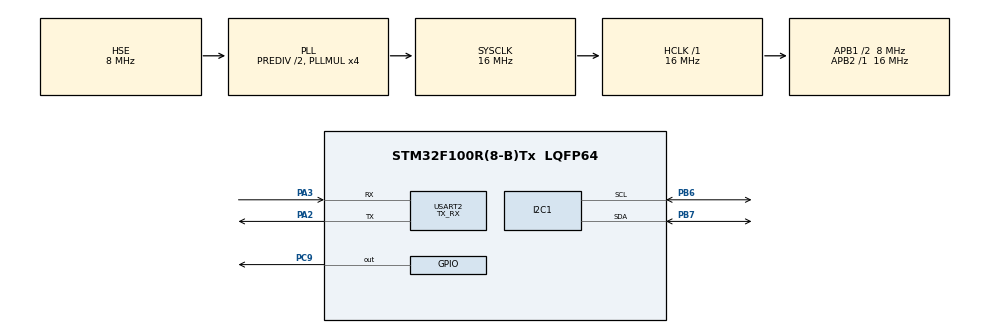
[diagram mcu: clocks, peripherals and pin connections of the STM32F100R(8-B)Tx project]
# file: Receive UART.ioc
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Mcu.Family=STM32F1
Mcu.Name=STM32F100R(8-B)Tx
Mcu.Package=LQFP64
NVIC.PriorityGroup=NVIC_PRIORITYGROUP_4
NVIC.USART2_IRQn=true\:0\:0\:false\:false\:true\:true\:true
PA13.Mode=Serial_Wire
PA13.Signal=SYS_JTMS-SWDIO
PA14.Mode=Serial_Wire
PA14.Signal=SYS_JTCK-SWCLK
PA2.Mode=Asynchronous
PA2.Signal=USART2_TX
PA3.Mode=Asynchronous
PA3.Signal=USART2_RX
PB6.Mode=I2C
PB6.Signal=I2C1_SCL
PB7.Mode=I2C
PB7.Signal=I2C1_SDA
PC9.Signal=GPIO_Output
PD0-OSC_IN.Mode=HSE-External-Oscillator
PD0-OSC_IN.Signal=RCC_OSC_IN
PD1-OSC_OUT.Mode=HSE-External-Oscillator
PD1-OSC_OUT.Signal=RCC_OSC_OUT
ProjectManager.HeapSize=0x200
ProjectManager.StackSize=0x400
ProjectManager.TargetToolchain=MDK-ARM V5
RCC.AHBFreq_Value=16000000
RCC.APB1CLKDivider=RCC_HCLK_DIV2
RCC.APB1Freq_Value=8000000
RCC.APB1TimFreq_Value=16000000
RCC.APB2Freq_Value=16000000
RCC.APB2TimFreq_Value=16000000
RCC.HCLKFreq_Value=16000000
RCC.HSEDivPLL=RCC_HSE_PREDIV_DIV2
RCC.PLLMUL=RCC_PLL_MUL4
RCC.PLLSource=RCC_PLLSOURCE_HSE
RCC.SYSCLKFreq_VALUE=16000000
RCC.SYSCLKSource=RCC_SYSCLKSOURCE_PLLCLK
USART2.Mode=MODE_TX_RX
USART2.VirtualMode=VM_ASYNC
VP_CRC_VS_CRC.Mode=CRC_Activate
board=custom

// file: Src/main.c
/* USER CODE BEGIN Header */
/**
  ******************************************************************************
  * @file           : main.c
  * @brief          : Main program body
  ******************************************************************************
  * @attention
  *
  * <h2><center>&copy; Copyright (c) 2019 STMicroelectronics.
  * All rights reserved.</center></h2>
  *
  * This software component is licensed by ST under BSD 3-Clause license,
  * the "License"; You may not use this file except in compliance with the
  * License. You may obtain a copy of the License at:
  *                        opensource.org/licenses/BSD-3-Clause
  *
  ******************************************************************************
  */
/* USER CODE END Header */

#include "main.h"

/* USER CODE BEGIN Includes */
#include <stdlib.h>
/* USER CODE END Includes */

CRC_HandleTypeDef hcrc;

I2C_HandleTypeDef hi2c1;

UART_HandleTypeDef huart2;

/* USER CODE BEGIN PV */
uint8_t str_Tx[24] = {0};
uint8_t str_Rx[24] = {0};
int flag = 0;
/* USER CODE END PV */

void SystemClock_Config(void);
static void MX_GPIO_Init(void);
static void MX_USART2_UART_Init(void);
static void MX_I2C1_Init(void);
static void MX_CRC_Init(void);
/* USER CODE BEGIN PFP */
void MK_Processing(uint8_t *s); //
/* USER CODE END PFP */

/* USER CODE BEGIN 0 */
void HAL_UART_RxCpltCallback(UART_HandleTypeDef *huart)
{
	if(huart == &huart2)
  {
    if(huart2.RxXferCount == 0)
    {
			flag = 1;
    }
  }
}
/* USER CODE END 0 */

int main(void)
{
  /* USER CODE BEGIN 1 */
	uint32_t Rx_Message_CRC[6] = {0};
	uint32_t Tx_Message_CRC[5] = {0};
	uint32_t CRC_Rx;
	uint32_t CRC_Tx;
  /* USER CODE END 1 */

  /* MCU Configuration--------------------------------------------------------*/

  /* Reset of all peripherals, Initializes the Flash interface and the Systick. */
  HAL_Init();

  /* Configure the system clock */
  SystemClock_Config();

  /* Initialize all configured peripherals */
  MX_GPIO_Init();
  MX_USART2_UART_Init();
  MX_I2C1_Init();
  MX_CRC_Init();

  /* Infinite loop */
  /* USER CODE BEGIN WHILE */
  while (1)
  {
		HAL_UART_Receive_IT(&huart2, str_Rx, 24);
			if (flag == 1)
			{
				// Подготовка к вычислению контрольной суммы принятого собщения
				for (int i = 0, j = 0; i < 6; i++, j+=4)
						{
							Rx_Message_CRC[i] = str_Rx[j+3] | (str_Rx[j+2] << 8) | (str_Rx[j+1] << 16) | (str_Rx[j] << 24);
						}

				CRC_Rx = HAL_CRC_Calculate(&hcrc, Rx_Message_CRC, 6); // Вычисление CRC принимаемого сообщения
				if (CRC_Rx == 0) // Если CRC(data+CRC) == 0, то ошибок при передаче не было
				{
						// Успешный прием
						HAL_GPIO_TogglePin(GPIOC, GPIO_PIN_9);
						HAL_Delay(2000);
						HAL_GPIO_TogglePin(GPIOC, GPIO_PIN_9);
						/*
							МК	Обработка
						*/
						for (int i = 0; i < 20; i++)
						str_Tx[i] = str_Rx[i];

						MK_Processing(str_Tx);

						for (int i = 0, j = 0; i < 5; i++, j+=4)
						{
							Tx_Message_CRC[i] = str_Tx[j+3] | (str_Tx[j+2] << 8) | (str_Tx[j+1] << 16) | (str_Tx[j] << 24);
						}

						// Формируем новое сообщение с новым CRC
						CRC_Tx = HAL_CRC_Calculate(&hcrc, Tx_Message_CRC, 5);
						for (int i = 20, j = 24; i < 24 ; i++, j-=8)
						str_Tx[i] = (uint8_t)( CRC_Tx >> j);
						HAL_I2C_Master_Transmit(&hi2c1, 0x00000004, str_Tx, 24, 1500);
				}
				else
				{
					for (int i = 0; i < 10; i++)
					{
						HAL_GPIO_TogglePin(GPIOC, GPIO_PIN_9);
						HAL_Delay(500);
					}
				}
				flag = 0;
			}
			HAL_Delay(100);
    /* USER CODE END WHILE */

  }
}

void SystemClock_Config(void)
{
  RCC_OscInitTypeDef RCC_OscInitStruct = {0};
  RCC_ClkInitTypeDef RCC_ClkInitStruct = {0};

  /** Initializes the CPU, AHB and APB busses clocks
  */
  RCC_OscInitStruct.OscillatorType = RCC_OSCILLATORTYPE_HSE;
  RCC_OscInitStruct.HSEState = RCC_HSE_ON;
  RCC_OscInitStruct.HSEPredivValue = RCC_HSE_PREDIV_DIV2;
  RCC_OscInitStruct.PLL.PLLState = RCC_PLL_ON;
  RCC_OscInitStruct.PLL.PLLSource = RCC_PLLSOURCE_HSE;
  RCC_OscInitStruct.PLL.PLLMUL = RCC_PLL_MUL4;
  if (HAL_RCC_OscConfig(&RCC_OscInitStruct) != HAL_OK)
  {
    Error_Handler();
  }
  /** Initializes the CPU, AHB and APB busses clocks
  */
  RCC_ClkInitStruct.ClockType = RCC_CLOCKTYPE_HCLK|RCC_CLOCKTYPE_SYSCLK
                              |RCC_CLOCKTYPE_PCLK1|RCC_CLOCKTYPE_PCLK2;
  RCC_ClkInitStruct.SYSCLKSource = RCC_SYSCLKSOURCE_PLLCLK;
  RCC_ClkInitStruct.AHBCLKDivider = RCC_SYSCLK_DIV1;
  RCC_ClkInitStruct.APB1CLKDivider = RCC_HCLK_DIV2;
  RCC_ClkInitStruct.APB2CLKDivider = RCC_HCLK_DIV1;

  if (HAL_RCC_ClockConfig(&RCC_ClkInitStruct, FLASH_LATENCY_0) != HAL_OK)
  {
    Error_Handler();
  }
}

static void MX_CRC_Init(void)
{

  hcrc.Instance = CRC;
  if (HAL_CRC_Init(&hcrc) != HAL_OK)
  {
    Error_Handler();
  }

}

static void MX_I2C1_Init(void)
{

  hi2c1.Instance = I2C1;
  hi2c1.Init.ClockSpeed = 100000;
  hi2c1.Init.DutyCycle = I2C_DUTYCYCLE_2;
  hi2c1.Init.OwnAddress1 = 0;
  hi2c1.Init.AddressingMode = I2C_ADDRESSINGMODE_7BIT;
  hi2c1.Init.DualAddressMode = I2C_DUALADDRESS_DISABLE;
  hi2c1.Init.OwnAddress2 = 0;
  hi2c1.Init.GeneralCallMode = I2C_GENERALCALL_DISABLE;
  hi2c1.Init.NoStretchMode = I2C_NOSTRETCH_DISABLE;
  if (HAL_I2C_Init(&hi2c1) != HAL_OK)
  {
    Error_Handler();
  }

}

static void MX_USART2_UART_Init(void)
{

  huart2.Instance = USART2;
  huart2.Init.BaudRate = 115200;
  huart2.Init.WordLength = UART_WORDLENGTH_8B;
  huart2.Init.StopBits = UART_STOPBITS_1;
  huart2.Init.Parity = UART_PARITY_NONE;
  huart2.Init.Mode = UART_MODE_TX_RX;
  huart2.Init.HwFlowCtl = UART_HWCONTROL_NONE;
  huart2.Init.OverSampling = UART_OVERSAMPLING_16;
  if (HAL_UART_Init(&huart2) != HAL_OK)
  {
    Error_Handler();
  }

}

static void MX_GPIO_Init(void)
{
  GPIO_InitTypeDef GPIO_InitStruct = {0};

  /* GPIO Ports Clock Enable */
  __HAL_RCC_GPIOD_CLK_ENABLE();
  __HAL_RCC_GPIOA_CLK_ENABLE();
  __HAL_RCC_GPIOC_CLK_ENABLE();
  __HAL_RCC_GPIOB_CLK_ENABLE();

  /*Configure GPIO pin Output Level */
  HAL_GPIO_WritePin(GPIOC, GPIO_PIN_9, GPIO_PIN_RESET);

  /*Configure GPIO pin : PC9 */
  GPIO_InitStruct.Pin = GPIO_PIN_9;
  GPIO_InitStruct.Mode = GPIO_MODE_OUTPUT_PP;
  GPIO_InitStruct.Pull = GPIO_NOPULL;
  GPIO_InitStruct.Speed = GPIO_SPEED_FREQ_LOW;
  HAL_GPIO_Init(GPIOC, &GPIO_InitStruct);

}

/* USER CODE BEGIN 4 */
void MK_Processing(uint8_t *s)
{
	int count = 0;
	for (int i = 0; i < 20; i++)
		if(s[i] != '*')
			count++;
		else
		{
			s[i] = 48 + count;
			count = 0;
		}
}
/* USER CODE END 4 */

void Error_Handler(void)
{
}

/************************ (C) COPYRIGHT STMicroelectronics *****END OF FILE****/
